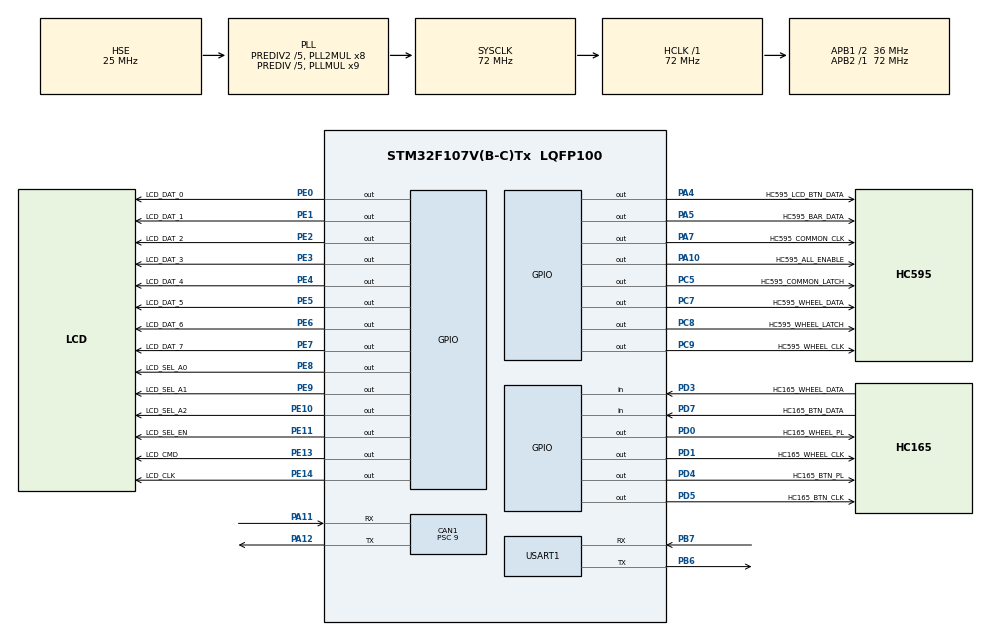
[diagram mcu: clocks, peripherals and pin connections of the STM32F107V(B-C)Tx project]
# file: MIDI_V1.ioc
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Mcu.Family=STM32F1
CAN1.NART=ENABLE
PE8.PinState=GPIO_PIN_RESET
PE4.GPIO_ModeDefaultOutputPP=GPIO_MODE_OUTPUT_PP
PE14.GPIO_Speed=GPIO_SPEED_FREQ_HIGH
RCC.Prediv2=RCC_HSE_PREDIV2_DIV5
PE11.GPIO_Label=LCD_SEL_EN
PE1.PinState=GPIO_PIN_RESET
PE2.GPIO_Speed=GPIO_SPEED_FREQ_HIGH
PE11.PinState=GPIO_PIN_RESET
PD0.GPIO_Label=HC165_WHEEL_PL
PA11.Mode=CAN_Activate
PE9.GPIO_Speed=GPIO_SPEED_FREQ_HIGH
NVIC.TIM1_UP_IRQn=true\:0\:0\:false\:false\:true\:true\:true
PE6.GPIO_Label=LCD_DAT_6
RCC.SYSCLKSource=RCC_SYSCLKSOURCE_PLLCLK
ProjectManager.StackSize=0x800
PC8.PinState=GPIO_PIN_RESET
PE1.GPIO_ModeDefaultOutputPP=GPIO_MODE_OUTPUT_PP
PA12.Signal=CAN1_TX
TIM1.Prescaler=89
PA10.PinState=GPIO_PIN_SET
NVIC.CAN1_TX_IRQn=true\:0\:0\:false\:false\:true\:true\:true
RCC.HCLKFreq_Value=72000000
PD4.Signal=GPIO_Output
RCC.APB2TimFreq_Value=72000000
TIM3.Period=1799
PB6.Signal=USART1_TX
PC7.Signal=GPIO_Output
PB6.Mode=Asynchronous
PD0.Signal=GPIO_Output
PE5.Signal=GPIO_Output
OSC_OUT.Mode=HSE-External-Oscillator
PE14.PinState=GPIO_PIN_RESET
PE1.Signal=GPIO_Output
OSC_OUT.Signal=RCC_OSC_OUT
RCC.AHBFreq_Value=72000000
PE3.PinState=GPIO_PIN_RESET
RCC.HSE_VALUE=25000000
PE2.GPIO_ModeDefaultOutputPP=GPIO_MODE_OUTPUT_PP
PE13.PinState=GPIO_PIN_RESET
RCC.PLLMUL=RCC_PLL_MUL9
PA4.GPIO_Speed=GPIO_SPEED_FREQ_HIGH
PD1.GPIO_Label=HC165_WHEEL_CLK
PE13.Signal=GPIO_Output
PE9.Signal=GPIO_Output
PD1.GPIO_Speed=GPIO_SPEED_FREQ_HIGH
PA14.Mode=Serial_Wire
PE4.GPIO_Speed=GPIO_SPEED_FREQ_HIGH
PE6.GPIO_ModeDefaultOutputPP=GPIO_MODE_OUTPUT_PP
PA10.GPIO_Label=HC595_ALL_ENABLE
PE4.GPIO_Label=LCD_DAT_4
PE5.PinState=GPIO_PIN_RESET
PE10.GPIO_ModeDefaultOutputPP=GPIO_MODE_OUTPUT_PP
PE2.Signal=GPIO_Output
PB7.Signal=USART1_RX
TIM4.Period=999
PE10.GPIO_Speed=GPIO_SPEED_FREQ_HIGH
PE10.Signal=GPIO_Output
PE4.Signal=GPIO_Output
VP_TIM1_VS_ClockSourceINT.Mode=Internal
PE6.PinState=GPIO_PIN_RESET
PD7.GPIO_Label=HC165_BTN_DATA
RCC.Prediv1Source=RCC_PREDIV1_SOURCE_PLL2
CAN1.Prescaler=9
Mcu.Package=LQFP100
PD5.GPIO_Label=HC165_BTN_CLK
PA10.Signal=GPIO_Output
PC8.GPIO_Speed=GPIO_SPEED_FREQ_HIGH
PE0.GPIO_Label=LCD_DAT_0
PA10.GPIO_Speed=GPIO_SPEED_FREQ_HIGH
PE8.GPIO_Speed=GPIO_SPEED_FREQ_HIGH
RCC.APB1TimFreq_Value=72000000
PE8.GPIO_ModeDefaultOutputPP=GPIO_MODE_OUTPUT_PP
PD5.GPIO_Speed=GPIO_SPEED_FREQ_HIGH
PC5.Signal=GPIO_Output
PD3.GPIO_Label=HC165_WHEEL_DATA
TIM1.Period=1
PE7.Signal=GPIO_Output
NVIC.USART1_IRQn=true\:1\:0\:true\:false\:true\:true\:true
PE10.GPIO_Label=LCD_SEL_A2
CAN1.CalculateTimeBit=1000.00
PE9.PinState=GPIO_PIN_RESET
PE6.GPIO_Speed=GPIO_SPEED_FREQ_HIGH
PA4.GPIO_Label=HC595_LCD_BTN_DATA
PE2.GPIO_Label=LCD_DAT_2
VP_TIM3_VS_ClockSourceINT.Mode=Internal
CAN1.CalculateTimeQuantum=250.0
PE14.GPIO_ModeDefaultOutputPP=GPIO_MODE_OUTPUT_PP
PE10.PinState=GPIO_PIN_RESET
RCC.PLLSourceVirtual=RCC_PLLSOURCE_HSE
PE0.GPIO_ModeDefaultOutputPP=GPIO_MODE_OUTPUT_PP
PC9.GPIO_Label=HC595_WHEEL_CLK
PE2.PinState=GPIO_PIN_RESET
PE11.GPIO_Speed=GPIO_SPEED_FREQ_HIGH
PD3.Signal=GPIO_Input
CAN1.CalculateBaudRate=1000000
PC8.Signal=GPIO_Output
PD7.Signal=GPIO_Input
PD1.Signal=GPIO_Output
PE7.PinState=GPIO_PIN_RESET
PE14.GPIO_Label=LCD_CLK
PD5.Signal=GPIO_Output
RCC.APB1CLKDivider=RCC_HCLK_DIV2
PD0.GPIO_Speed=GPIO_SPEED_FREQ_HIGH
PE0.GPIO_Speed=GPIO_SPEED_FREQ_HIGH
PC8.GPIO_Label=HC595_WHEEL_LATCH
PA13.Signal=SYS_JTMS-SWDIO
PE0.PinState=GPIO_PIN_RESET
CAN1.BS1=CAN_BS1_2TQ
ProjectManager.TargetToolchain=STM32CubeIDE
PE8.GPIO_Label=LCD_SEL_A0
OSC_IN.Signal=RCC_OSC_IN
RCC.USBFreq_Value=48000000
PE11.Signal=GPIO_Output
PE9.GPIO_Label=LCD_SEL_A1
CAN1.ABOM=ENABLE
PA5.Signal=GPIO_Output
board=custom
PC7.GPIO_Speed=GPIO_SPEED_FREQ_HIGH
PE1.GPIO_Label=LCD_DAT_1
PA7.GPIO_Speed=GPIO_SPEED_FREQ_HIGH
NVIC.TIM3_IRQn=true\:3\:0\:true\:false\:true\:true\:true
PE7.GPIO_Speed=GPIO_SPEED_FREQ_HIGH
RCC.APB2Freq_Value=72000000
PE14.Signal=GPIO_Output
PE8.Signal=GPIO_Output
PD4.GPIO_Label=HC165_BTN_PL
PD4.GPIO_Speed=GPIO_SPEED_FREQ_HIGH
PE1.GPIO_Speed=GPIO_SPEED_FREQ_HIGH
PE6.Signal=GPIO_Output
PA13.Mode=Serial_Wire
Mcu.Name=STM32F107V(B-C)Tx
PE0.Signal=GPIO_Output
PE7.GPIO_Label=LCD_DAT_7
PC7.GPIO_Label=HC595_WHEEL_DATA
PA4.Signal=GPIO_Output
RCC.SYSCLKFreq_VALUE=72000000
PA7.GPIO_Label=HC595_COMMON_CLK
PE13.GPIO_Label=LCD_CMD
PA12.Mode=CAN_Activate
PA5.GPIO_Label=HC595_BAR_DATA
OSC_IN.Mode=HSE-External-Oscillator
PC5.GPIO_Label=HC595_COMMON_LATCH
PE3.GPIO_Speed=GPIO_SPEED_FREQ_HIGH
PE3.GPIO_ModeDefaultOutputPP=GPIO_MODE_OUTPUT_PP
PE11.GPIO_ModeDefaultOutputPP=GPIO_MODE_OUTPUT_PP
PE13.GPIO_ModeDefaultOutputPP=GPIO_MODE_OUTPUT_PP
RCC.HSEDivPLL=RCC_HSE_PREDIV_DIV5
PE5.GPIO_Label=LCD_DAT_5
USART1.VirtualMode=VM_ASYNC
PA11.Signal=CAN1_RX
PB7.Mode=Asynchronous
PA14.Signal=SYS_JTCK-SWCLK
ProjectManager.HeapSize=0x400
PE5.GPIO_ModeDefaultOutputPP=GPIO_MODE_OUTPUT_PP
VP_TIM4_VS_ClockSourceINT.Mode=Internal
PA5.GPIO_Speed=GPIO_SPEED_FREQ_HIGH
PC9.GPIO_Speed=GPIO_SPEED_FREQ_HIGH
NVIC.PriorityGroup=NVIC_PRIORITYGROUP_4
PC5.GPIO_Speed=GPIO_SPEED_FREQ_HIGH
PE13.GPIO_Speed=GPIO_SPEED_FREQ_HIGH
PE5.GPIO_Speed=GPIO_SPEED_FREQ_HIGH
PE3.Signal=GPIO_Output
PE3.GPIO_Label=LCD_DAT_3
PE4.PinState=GPIO_PIN_RESET
PE7.GPIO_ModeDefaultOutputPP=GPIO_MODE_OUTPUT_PP
PE9.GPIO_ModeDefaultOutputPP=GPIO_MODE_OUTPUT_PP
PC9.Signal=GPIO_Output
NVIC.TIM4_IRQn=true\:2\:0\:true\:false\:true\:true\:true
RCC.APB1Freq_Value=36000000
NVIC.CAN1_RX0_IRQn=true\:0\:0\:false\:false\:true\:true\:true
PA7.Signal=GPIO_Output

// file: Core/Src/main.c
/* USER CODE BEGIN Header */
/**
 ******************************************************************************
 * @file           : main.c
 * @brief          : Main program body
 ******************************************************************************
 * @attention
 *
 * <h2><center>&copy; Copyright (c) 2021 STMicroelectronics.
 * All rights reserved.</center></h2>
 *
 * This software component is licensed by ST under BSD 3-Clause license,
 * the "License"; You may not use this file except in compliance with the
 * License. You may obtain a copy of the License at:
 *                        opensource.org/licenses/BSD-3-Clause
 *
 ******************************************************************************
 */
/* USER CODE END Header */
#include "main.h"

/* USER CODE BEGIN Includes */
#include "HC595_MIDI.h"
#include "HC595_MIDI_Control.h"

#include "HC165_MIDI.h"
#include "HC165_MIDI_wheel.h"

#include "X_Touch_Extender_ADC.h"
#include "X_Touch_Extender_MotorAdc_packet.h"
#include "LCD_MIDI.h"
#include "LCD_MIDI_Control.h"

#include "non_stop_delay_main.h"

#include "key_manager.h"
#include "panel_manager.h"

#include "welcome.h"

#include "app_pid_init_cmd.h"
#include "app_pid_midi_cmd.h"
#include "prtc_data_pid_midi.h"

#include "communication_info.h"

#include "filter_manager.h"

#include "eeprom.h"
#include "eeprom_manager.h"

#ifdef PROTOCOL_DEF
#include "can_com.h"
#include "can_datalink.h"

#include "communication_manager.h"
#endif
/* USER CODE END Includes */

/* USER CODE BEGIN PM */

const uint8_t sine_wave[256] = { 0x80, 0x83, 0x86, 0x89, 0x8C, 0x90, 0x93, 0x96, 0x99, 0x9C, 0x9F, 0xA2, 0xA5, 0xA8, 0xAB, 0xAE, 0xB1, 0xB3, 0xB6, 0xB9, 0xBC, 0xBF, 0xC1, 0xC4,
		0xC7, 0xC9, 0xCC, 0xCE, 0xD1, 0xD3, 0xD5, 0xD8, 0xDA, 0xDC, 0xDE, 0xE0, 0xE2, 0xE4, 0xE6, 0xE8, 0xEA, 0xEB, 0xED, 0xEF, 0xF0, 0xF1, 0xF3, 0xF4, 0xF5, 0xF6, 0xF8, 0xF9,
		0xFA, 0xFA, 0xFB, 0xFC, 0xFD, 0xFD, 0xFE, 0xFE, 0xFE, 0xFF, 0xFF, 0xFF, 0xFF, 0xFF, 0xFF, 0xFF, 0xFE, 0xFE, 0xFE, 0xFD, 0xFD, 0xFC, 0xFB, 0xFA, 0xFA, 0xF9, 0xF8, 0xF6,
		0xF5, 0xF4, 0xF3, 0xF1, 0xF0, 0xEF, 0xED, 0xEB, 0xEA, 0xE8, 0xE6, 0xE4, 0xE2, 0xE0, 0xDE, 0xDC, 0xDA, 0xD8, 0xD5, 0xD3, 0xD1, 0xCE, 0xCC, 0xC9, 0xC7, 0xC4, 0xC1, 0xBF,
		0xBC, 0xB9, 0xB6, 0xB3, 0xB1, 0xAE, 0xAB, 0xA8, 0xA5, 0xA2, 0x9F, 0x9C, 0x99, 0x96, 0x93, 0x90, 0x8C, 0x89, 0x86, 0x83, 0x80, 0x7D, 0x7A, 0x77, 0x74, 0x70, 0x6D, 0x6A,
		0x67, 0x64, 0x61, 0x5E, 0x5B, 0x58, 0x55, 0x52, 0x4F, 0x4D, 0x4A, 0x47, 0x44, 0x41, 0x3F, 0x3C, 0x39, 0x37, 0x34, 0x32, 0x2F, 0x2D, 0x2B, 0x28, 0x26, 0x24, 0x22, 0x20,
		0x1E, 0x1C, 0x1A, 0x18, 0x16, 0x15, 0x13, 0x11, 0x10, 0x0F, 0x0D, 0x0C, 0x0B, 0x0A, 0x08, 0x07, 0x06, 0x06, 0x05, 0x04, 0x03, 0x03, 0x02, 0x02, 0x02, 0x01, 0x01, 0x01,
		0x01, 0x01, 0x01, 0x01, 0x02, 0x02, 0x02, 0x03, 0x03, 0x04, 0x05, 0x06, 0x06, 0x07, 0x08, 0x0A, 0x0B, 0x0C, 0x0D, 0x0F, 0x10, 0x11, 0x13, 0x15, 0x16, 0x18, 0x1A, 0x1C,
		0x1E, 0x20, 0x22, 0x24, 0x26, 0x28, 0x2B, 0x2D, 0x2F, 0x32, 0x34, 0x37, 0x39, 0x3C, 0x3F, 0x41, 0x44, 0x47, 0x4A, 0x4D, 0x4F, 0x52, 0x55, 0x58, 0x5B, 0x5E, 0x61, 0x64,
		0x67, 0x6A, 0x6D, 0x70, 0x74, 0x77, 0x7A, 0x7D };
/* USER CODE END PM */

CAN_HandleTypeDef hcan1;

TIM_HandleTypeDef htim1;
TIM_HandleTypeDef htim3;
TIM_HandleTypeDef htim4;

UART_HandleTypeDef huart1;

/* USER CODE BEGIN PV */
#ifdef PROTOCOL_DEF
MAL_CAN_HandleTypeDef mcan1;
#endif
/* USER CODE END PV */

void SystemClock_Config(void);
static void MX_GPIO_Init(void);
static void MX_TIM3_Init(void);
static void MX_TIM4_Init(void);
static void MX_USART1_UART_Init(void);
static void MX_TIM1_Init(void);
static void MX_CAN1_Init(void);
/* USER CODE BEGIN PFP */

extern HC165_wheel_TypeDef wheel[8];
extern X_Touch_Extender_Packet_HandleTypeDef extenderPacket;

extern Comm_Axle_TypeDef com_axle;
uint8_t my_can_id;
extern uint8_t my_can_sub_id;
/* USER CODE END PFP */

/* USER CODE BEGIN 0 */
void HAL_TIM_PeriodElapsedCallback(TIM_HandleTypeDef *htim) {
	switch ((uint32_t) htim->Instance)
	{
		case (uint32_t) TIM3:
			MAL_HC595_MIDI_TIM_Manager();
			break;
		case (uint32_t) TIM4:
			MAL_HC165_MIDI_TIM_Manager();
			break;
			/*	case (uint32_t)TIM1:
			 MAL_LCD_MIDI_TIM_Manager();
			 break;*/
	}
}
#ifndef PROTOCOL_DEF
void MAL_CAN_FilterConfig(CAN_HandleTypeDef *hcan) {
	CAN_FilterTypeDef sFilterConfig;

	/*##-2- Configure the CAN Filter ###########################################*/
	sFilterConfig.FilterBank = 0;
	sFilterConfig.FilterMode = CAN_FILTERMODE_IDMASK;
	sFilterConfig.FilterScale = CAN_FILTERSCALE_32BIT;
	sFilterConfig.FilterIdHigh = 0x0000;
	sFilterConfig.FilterIdLow = 0x0000;
	sFilterConfig.FilterMaskIdHigh = 0x0000;
	sFilterConfig.FilterMaskIdLow = 0x0000;
	sFilterConfig.FilterFIFOAssignment = CAN_RX_FIFO0;
	sFilterConfig.FilterActivation = ENABLE;
	sFilterConfig.SlaveStartFilterBank = 14;

	if (HAL_CAN_ConfigFilter(hcan, &sFilterConfig) != HAL_OK)
	{
		/* Filter configuration Error */
		Error_Handler();
	}

	/*##-3- Start the CAN peripheral ###########################################*/
	if (HAL_CAN_Start(hcan) != HAL_OK)
	{
		/* Start Error */
		Error_Handler();
	}

	/*##-4- Activate CAN RX notification #######################################*/
	if (HAL_CAN_ActivateNotification(hcan, CAN_IT_RX_FIFO0_MSG_PENDING) != HAL_OK)
	{
		/* Notification Error */
		Error_Handler();
	}
}
#endif

#ifdef PROTOCOL_DEF
void MAL_CAN1_Init(void)
{
	MAL_CAN_FilterConfig(&hcan1);
	MAL_CAN_HandleMatching(&mcan1,&hcan1);
}
#endif

/* USER CODE END 0 */
uint32_t t_time1;
uint32_t t_time2;
uint32_t t_tot;

int main(void) {

	/* MCU Configuration--------------------------------------------------------*/

	/* Reset of all peripherals, Initializes the Flash interface and the Systick. */
	HAL_Init();

	/* Configure the system clock */
	SystemClock_Config();

	/* Initialize all configured peripherals */
	MX_GPIO_Init();
	MX_TIM3_Init();
	MX_TIM4_Init();
	MX_USART1_UART_Init();
	MX_TIM1_Init();
	MX_CAN1_Init();
	/* USER CODE BEGIN 2 */

#ifndef PROTOCOL_DEF
	can_init_data_save(&hcan1);
	MAL_CAN_FilterConfig(&hcan1);
#endif

#ifdef PROTOCOL_DEF
	MAL_CAN1_Init();
#endif
	Key_Init();

	MAL_UART_Init();
	MAL_X_TouchExtender_Packet_Init();
	MAL_X_touch_test();

	MAL_HC595_MIDI_Init();
	MAL_LED_Control_Init();
	MAL_HC165_MIDI_Init();

	MAL_LCD_Init();

	Panel_Init();

	filter_init();

	com_axle.list.cnt = 1;

	welcome();

	eeprom_init();
#ifdef PROTOCOL_DEF
	CAN_App_BootAlm_Event_TxReq();
	CAN_App_MIDI_AxleInfo_TxReq();
#endif

	for (int k = 0; k < 8; k++)
	{
		MAL_LED_BackLight_Control(k, LED_WHITE);
	}

#ifndef PROTOCOL_DEF
	//app_tx_midi_sub_pid_exist_ctl(0, 1, my_can_id, 0, 1, 0);
	//app_tx_midi_sub_pid_exist_ctl(0, 1, my_can_id, 0, my_can_sub_id, 0);

	my_can_id = 1;
	set_my_can_id(1);
	add_my_can_sub_id(1, 1);
	app_tx_midi_sub_pid_exist_ctl(0, 1, 1, 0, 1, 0);
	//app_tx_midi_sub_pid_exist_ctl(0, 1, my_can_id, 0, 0);
#endif
	//LCD_SetText_DEC(0,5);

	//LCD_Pixel_wirte_logo(0);
	//LCD_Pixel_wirte_logo(7);

	/*
	 LCD_Pixel_wirte_logo(0);
	 LCD_Pixel_wirte_logo(1);
	 LCD_Pixel_wirte_logo(2);
	 LCD_Pixel_wirte_logo(3);
	 LCD_Pixel_wirte_logo(4);
	 LCD_Pixel_wirte_logo(5);
	 LCD_Pixel_wirte_logo(6);
	 LCD_Pixel_wirte_logo(7);
	 */

	/*	LCD_pixel_write_sizeA_p(1, 'A', 1);
	 LCD_pixel_write_sizeA_p(1, 'X', 2);
	 LCD_pixel_write_sizeA_p(1, 'L', 3);
	 LCD_pixel_write_sizeA_p(1, 'E', 4);
	 LCD_pixel_write_sizeA_p(1, ':', 5);
	 LCD_pixel_write_sizeA_p(1, '7', 6);*/

	/*  LCD_pixel_write_sizeA_p(1, 'G', 1);
	 LCD_pixel_write_sizeA_p(1, 'E', 2);
	 LCD_pixel_write_sizeA_p(1, 'N', 3);
	 LCD_pixel_write_sizeA_p(1, 'T', 4);
	 LCD_pixel_write_sizeA_p(1, 'L', 5);
	 LCD_pixel_write_sizeA_p(1, 'E', 6);

	 LCD_pixel_write_sizeA_p(2, 'M', 1);
	 LCD_pixel_write_sizeA_p(2, 'O', 2);
	 LCD_pixel_write_sizeA_p(2, 'N', 3);
	 LCD_pixel_write_sizeA_p(2, 'S', 4);
	 LCD_pixel_write_sizeA_p(2, 'T', 5);
	 LCD_pixel_write_sizeA_p(2, 'E', 6);
	 LCD_pixel_write_sizeA_p(2, 'R', 6);*/

	/*   LCD_pixel_write_sizeA_p(5, 'K', 1);
	 LCD_pixel_write_sizeA_p(5, 'i', 2);
	 LCD_pixel_write_sizeA_p(5, 'm', 3);

	 LCD_pixel_write_sizeA_p(5, 'H', 10);
	 LCD_pixel_write_sizeA_p(5, 'y', 11);
	 LCD_pixel_write_sizeA_p(5, 'u', 12);
	 LCD_pixel_write_sizeA_p(5, 'n', 13);
	 LCD_pixel_write_sizeA_p(5, 'j', 14);
	 LCD_pixel_write_sizeA_p(5, 'u', 15);*/

	//LCD_pixel_write_sizeA_p(5, 0x50, 17);
	//  MAL_LCD_InitSeq();
	/*
	 uint8_t test_bit = 0x01;
	 uint8_t test_bit2 = 0x01;

	 for(int sk = 0; sk < 8; sk++)
	 {
	 MAL_LCD_SetData(sk,0x00);
	 }

	 uint8_t toggle = 0;

	 uint8_t testData=0x30;*/

	// LCD_control2(6,&LCDtext);
#if 0
	uint8_t toggle = 0;

	uint32_t test_cnt = 0;

	uint32_t val = 0;

	uint8_t sine_cnt = 0;

	uint8_t sine_shift = 0;

	uint32_t t_motor = 0;

	uint32_t t_lcd = 0;

	uint32_t t_wheel = 0;
#endif
/*	uint32_t t_testss;

	uint32_t pHeader;
	uint8_t aData[8] = {0,};*/

//	uint32_t t_testss1;
	/*

	 uint32_t pTxMailbox;*/

	/* USER CODE END 2 */

	/* Infinite loop */
	while (1)
	{

		/* USER CODE BEGIN 3 */
		//=============================================
		MAL_LED_Refresh();
		MAL_HC595_MIDI_SendTrigger();
		MAL_HC165_MIDI_ReadTrigger();
		MAL_X_TouchExtender_ADC_Process();
		//=============================================
		t_time1 = HAL_GetTick();
		filter_manager();
		t_time2 = HAL_GetTick();
		t_tot = t_time2 - t_time1;

		Key_Manager();
		Panel_Manager();

#ifndef PROTOCOL_DEF
		proc_can_rx();
		proc_can_tx();
#endif
#ifdef PROTOCOL_DEF
		InfoManager();
		MAL_CAN_Process();

/*		if (MAL_NonStopDelay(&t_testss, 100) == 1)
		{
			MAL_CAN_SendAddQueue_ExtData(&mcan1,pHeader, aData, 8);
			aData[0]++;
		}*/
#endif
//		if (MAL_NonStopDelay(&t_testss, 2000) == 1)
//		{
//			Slide_control(1, 4094);
//			Slide_control(2, 4094);
//			Slide_control(3, 4094);
//			Slide_control(4, 4094);
//			Slide_control(5, 4094);
//		}
//
//		if (MAL_NonStopDelay(&t_testss1, 7000) == 1)
//		{
//			Slide_control(1, 0);
//			Slide_control(2, 0);
//			Slide_control(3, 0);
//			Slide_control(4, 0);
//			Slide_control(5, 0);
//		}
#if 0

		/*	  LCD_SetText_DEC(0,val);
		 val++;

		 if(val > 4095)
		 val = 0;

		 HAL_Delay(100);*/

		if (MAL_NonStopDelay(&t_lcd, 30) == 1) {

			MAL_X_TouchExtender_ADC_Process();
			MAL_X_TouchExtender_ADC_Process();
			MAL_X_TouchExtender_ADC_Process();
			MAL_X_TouchExtender_ADC_Process();
			MAL_X_TouchExtender_ADC_Process();
			MAL_X_TouchExtender_ADC_Process();
			MAL_X_TouchExtender_ADC_Process();
			MAL_X_TouchExtender_ADC_Process();
			MAL_X_TouchExtender_ADC_Process();

			//LCD_SetText_DEC(0,extenderPacket.adc[0]);
			/*			LCD_SetText_DEC(1, extenderPacket.adc[1]);
			 LCD_SetText_DEC(2, extenderPacket.adc[2]);
			 LCD_SetText_DEC(3, extenderPacket.adc[3]);
			 LCD_SetText_DEC(4, extenderPacket.adc[4]);
			 LCD_SetText_DEC(5, extenderPacket.adc[5]);
			 LCD_SetText_DEC(6, extenderPacket.adc[6]);*/
			//LCD_SetText_DEC(7,extenderPacket.adc[7]);
		}

		if (MAL_NonStopDelay(&t_motor, 16) == 1) {

			sine_cnt++;

			sine_shift = 0;

			if (extenderPacket.touch[0] == 0x00) {
				Slide_control(0, 16 * sine_wave[sine_cnt]);
				//LCD_SetText_DEC(0, 16 * sine_wave[sine_cnt]);
			} else {
				//LCD_SetText_DEC(0, extenderPacket.adc[0]);
			}

			sine_shift = 20 + sine_cnt;
			if (extenderPacket.touch[1] == 0x00) {
				Slide_control(1, 16 * sine_wave[sine_shift]);
				LCD_SetText_DEC(1, 16 * sine_wave[sine_shift]);
			} else {
				LCD_SetText_DEC(1, extenderPacket.adc[1]);
			}

			sine_shift += 20;
			if (extenderPacket.touch[2] == 0x00) {
				Slide_control(2, 16 * sine_wave[sine_shift]);
				LCD_SetText_DEC(2, 16 * sine_wave[sine_shift]);
			} else {
				LCD_SetText_DEC(2, extenderPacket.adc[2]);
			}

			sine_shift += 20;
			if (extenderPacket.touch[3] == 0x00) {
				Slide_control(3, 16 * sine_wave[sine_shift]);
				LCD_SetText_DEC(3, 16 * sine_wave[sine_shift]);
			} else {
				LCD_SetText_DEC(3, extenderPacket.adc[3]);
			}

			sine_shift += 20;
			if (extenderPacket.touch[4] == 0x00) {
				Slide_control(4, 16 * sine_wave[sine_shift]);
				LCD_SetText_DEC(4, 16 * sine_wave[sine_shift]);
			} else {
				LCD_SetText_DEC(4, extenderPacket.adc[4]);
			}

			sine_shift += 20;
			if (extenderPacket.touch[5] == 0x00) {
				Slide_control(5, 16 * sine_wave[sine_shift]);
				LCD_SetText_DEC(5, 16 * sine_wave[sine_shift]);
			} else {
				LCD_SetText_DEC(5, extenderPacket.adc[5]);
			}

			sine_shift += 20;
			if (extenderPacket.touch[6] == 0x00) {
				Slide_control(6, 16 * sine_wave[sine_shift]);
				LCD_SetText_DEC(6, 16 * sine_wave[sine_shift]);
			} else {
				LCD_SetText_DEC(6, extenderPacket.adc[6]);
			}

			sine_shift += 20;
			if (extenderPacket.touch[7] == 0x00) {
				//Slide_control(7, 16 * sine_wave[sine_shift]);
				Slide_control(7, extenderPacket.adc[6]);
				//LCD_SetText_DEC(7, 16 * sine_wave[sine_shift]);
			} else {
				//LCD_SetText_DEC(7, extenderPacket.adc[7]);
			}

		}

		if (MAL_NonStopDelay(&t_val, 300) == 1) {

			MAL_X_TouchExtender_ADC_Process();

			/* sine_cnt++;

			 sine_shift = 0;*/

			test_cnt++;
			if (test_cnt > 8)
				test_cnt = 0;

			//Slide_control(0, 16*sine_wave[sine_cnt]);
			MAL_LED_BackLight_Control(1, LED_BLUE);
			MAL_LED_BarGauge_Control(1, test_cnt);
			//MAL_LED_Wheel_Control(1, wheel[1].status.wheelCnt);
			MAL_LED_Button_Control(0, test_cnt / 2, 0);
			MAL_LED_Button_Control(4, test_cnt / 2, 0);

			test_cnt++;
			if (test_cnt > 8)
				test_cnt = 0;

			//sine_shift = 20 + sine_cnt;
			//Slide_control(1, 16 * sine_wave[sine_shift]);
			MAL_LED_BackLight_Control(2, LED_CYAN);
			MAL_LED_BarGauge_Control(2, test_cnt);
			//MAL_LED_Wheel_Control(2, wheel[2].status.wheelCnt);
			MAL_LED_Button_Control(1, test_cnt / 2, 0);
			MAL_LED_Button_Control(5, test_cnt / 2, 0);
			test_cnt++;
			if (test_cnt > 8)
				test_cnt = 0;

			//sine_shift += 20;
			//Slide_control(2, 16 * sine_wave[sine_shift]);
			MAL_LED_BackLight_Control(3, LED_YELLOW);
			MAL_LED_BarGauge_Control(3, test_cnt);
			//MAL_LED_Wheel_Control(3, wheel[3].status.wheelCnt);
			MAL_LED_Button_Control(2, test_cnt / 2, 0);
			MAL_LED_Button_Control(6, test_cnt / 2, 0);
			test_cnt++;
			if (test_cnt > 8)
				test_cnt = 0;

			//sine_shift += 20;
			//Slide_control(3, 16 * sine_wave[sine_shift]);
			MAL_LED_BackLight_Control(4, LED_MAGENTA);
			MAL_LED_BarGauge_Control(4, test_cnt);
			//MAL_LED_Wheel_Control(4, wheel[4].status.wheelCnt);
			MAL_LED_Button_Control(3, test_cnt / 2, 0);
			MAL_LED_Button_Control(7, test_cnt / 2, 0);
			test_cnt++;
			if (test_cnt > 8)
				test_cnt = 0;

			//sine_shift += 20;
			//Slide_control(4, 16 * sine_wave[sine_shift]);
			MAL_LED_BackLight_Control(5, LED_GREEN);
			MAL_LED_BarGauge_Control(5, test_cnt);
			//MAL_LED_Wheel_Control(5, wheel[5].status.wheelCnt);
			MAL_LED_Button_Control(0, test_cnt / 2, 1);
			MAL_LED_Button_Control(4, test_cnt / 2, 1);
			test_cnt++;
			if (test_cnt > 8)
				test_cnt = 0;

			//sine_shift += 20;
			//Slide_control(5, 16 * sine_wave[sine_shift]);
			MAL_LED_BackLight_Control(6, LED_WHITE);
			MAL_LED_BarGauge_Control(6, test_cnt);
			//MAL_LED_Wheel_Control(6, wheel[6].status.wheelCnt);
			MAL_LED_Button_Control(1, test_cnt / 2, 1);
			MAL_LED_Button_Control(5, test_cnt / 2, 1);
			test_cnt++;
			if (test_cnt > 8)
				test_cnt = 0;

			//sine_shift += 20;
			//Slide_control(6, 16 * sine_wave[sine_shift]);
			MAL_LED_BackLight_Control(7, test_cnt+1);
			MAL_LED_BarGauge_Control(7, test_cnt);
			//MAL_LED_Wheel_Control(7, wheel[7].status.wheelCnt);
			MAL_LED_Button_Control(2, test_cnt / 2, 1);
			MAL_LED_Button_Control(6, test_cnt / 2, 1);
			test_cnt++;
			if (test_cnt > 8)
				test_cnt = 0;

			//sine_shift += 20;
			//Slide_control(7, 16 * sine_wave[sine_shift]);
			MAL_LED_BackLight_Control(0, test_cnt+1);
			MAL_LED_BarGauge_Control(0, test_cnt);
			//MAL_LED_Wheel_Control(0, wheel[0].status.wheelCnt);
			MAL_LED_Button_Control(3, test_cnt / 2, 1);
			MAL_LED_Button_Control(7, test_cnt / 2, 1);
			/*	  test_cnt++;
			 if(test_cnt > 8)
			 test_cnt = 0;*/

			MAL_LED_Refresh();

		}

		if (MAL_NonStopDelay(&t_wheel, 5) == 1) {
			MAL_LED_Wheel_Control(0, wheel[0].status.wheelCnt);
			MAL_LED_Wheel_Control(1, wheel[1].status.wheelCnt);
			MAL_LED_Wheel_Control(2, wheel[2].status.wheelCnt);
			MAL_LED_Wheel_Control(3, wheel[3].status.wheelCnt);
			MAL_LED_Wheel_Control(4, wheel[4].status.wheelCnt);
			MAL_LED_Wheel_Control(5, wheel[5].status.wheelCnt);
			MAL_LED_Wheel_Control(6, wheel[6].status.wheelCnt);
			MAL_LED_Wheel_Control(7, wheel[7].status.wheelCnt);
			MAL_LED_Refresh();

		}

		MAL_HC595_MIDI_SendTrigger();
		MAL_HC165_MIDI_ReadTrigger();
		MAL_X_TouchExtender_ADC_Process();
		/*
		 if(toggle)
		 {
		 toggle = 0;
		 LCD_pixel_write_sizeA_p(2, 'M', 1);
		 LCD_pixel_write_sizeA_p(2, 'O', 2);
		 LCD_pixel_write_sizeA_p(2, 'N', 3);
		 LCD_pixel_write_sizeA_p(2, 'S', 4);
		 LCD_pixel_write_sizeA_p(2, 'T', 5);
		 LCD_pixel_write_sizeA_p(2, 'E', 6);
		 LCD_pixel_write_sizeA_p(2, 'R', 6);

		 LCD_pixel_write_sizeA_p(3, ' ', 1);
		 LCD_pixel_write_sizeA_p(3, ' ', 2);
		 LCD_pixel_write_sizeA_p(3, ' ', 3);
		 LCD_pixel_write_sizeA_p(3, ' ', 4);
		 LCD_pixel_write_sizeA_p(3, ' ', 5);
		 LCD_pixel_write_sizeA_p(3, ' ', 6);
		 LCD_pixel_write_sizeA_p(3, ' ', 6);
		 }
		 else
		 {
		 toggle = 1;
		 LCD_pixel_write_sizeA_p(2, ' ', 1);
		 LCD_pixel_write_sizeA_p(2, ' ', 2);
		 LCD_pixel_write_sizeA_p(2, ' ', 3);
		 LCD_pixel_write_sizeA_p(2, ' ', 4);
		 LCD_pixel_write_sizeA_p(2, ' ', 5);
		 LCD_pixel_write_sizeA_p(2, ' ', 6);
		 LCD_pixel_write_sizeA_p(2, ' ', 6);

		 LCD_pixel_write_sizeA_p(3, 'M', 1);
		 LCD_pixel_write_sizeA_p(3, 'O', 2);
		 LCD_pixel_write_sizeA_p(3, 'N', 3);
		 LCD_pixel_write_sizeA_p(3, 'S', 4);
		 LCD_pixel_write_sizeA_p(3, 'T', 5);
		 LCD_pixel_write_sizeA_p(3, 'E', 6);
		 LCD_pixel_write_sizeA_p(3, 'R', 6);
		 }

		 MAL_LED_BackLight_Control(1, LED_WHITE);
		 MAL_LED_BackLight_Control(2, LED_WHITE);
		 MAL_LED_BackLight_Control(3, LED_WHITE);
		 MAL_LED_BackLight_Control(4, LED_WHITE);
		 MAL_LED_BackLight_Control(5, LED_WHITE);
		 MAL_LED_BackLight_Control(6, LED_WHITE);
		 MAL_LED_BackLight_Control(7, LED_WHITE);
		 MAL_LED_BackLight_Control(8, LED_WHITE);

		 MAL_LED_Refresh();

		 MAL_HC595_MIDI_SendTrigger();

		 HAL_Delay(100);

		 MAL_LED_Wheel_Control(1, test_cnt);

		 Slide_control(0, test_cnt*100);
		 MAL_LED_BackLight_Control(1, test_cnt);
		 MAL_LED_BarGauge_Control(1, test_cnt);
		 MAL_LED_Wheel_Control(1, test_cnt);
		 MAL_LED_Button_Control(1, test_cnt/2 , 0);
		 MAL_LED_Button_Control(5, test_cnt/2 , 0);

		 test_cnt++;
		 if(test_cnt > 8)
		 test_cnt = 0;

		 Slide_control(1, test_cnt*100);
		 MAL_LED_BackLight_Control(2, test_cnt);
		 MAL_LED_BarGauge_Control(2, test_cnt);
		 MAL_LED_Wheel_Control(2, test_cnt);
		 MAL_LED_Button_Control(2, test_cnt/2 , 0);
		 MAL_LED_Button_Control(6, test_cnt/2 , 0);
		 test_cnt++;
		 if(test_cnt > 8)
		 test_cnt = 0;

		 Slide_control(2, test_cnt*100);
		 MAL_LED_BackLight_Control(3, test_cnt);
		 MAL_LED_BarGauge_Control(3, test_cnt);
		 MAL_LED_Wheel_Control(3, test_cnt);
		 MAL_LED_Button_Control(3, test_cnt/2 , 0);
		 MAL_LED_Button_Control(7, test_cnt/2 , 0);
		 test_cnt++;
		 if(test_cnt > 8)
		 test_cnt = 0;

		 Slide_control(3, test_cnt*100);
		 MAL_LED_BackLight_Control(4, test_cnt);
		 MAL_LED_BarGauge_Control(4, test_cnt);
		 MAL_LED_Wheel_Control(4, test_cnt);
		 MAL_LED_Button_Control(4, test_cnt/2 , 0);
		 MAL_LED_Button_Control(8, test_cnt/2 , 0);
		 test_cnt++;
		 if(test_cnt > 8)
		 test_cnt = 0;

		 Slide_control(4, test_cnt*100);
		 MAL_LED_BackLight_Control(5, test_cnt);
		 MAL_LED_BarGauge_Control(5, test_cnt);
		 MAL_LED_Wheel_Control(5, test_cnt);
		 MAL_LED_Button_Control(1, test_cnt/2 , 1);
		 MAL_LED_Button_Control(5, test_cnt/2 , 1);
		 test_cnt++;
		 if(test_cnt > 8)
		 test_cnt = 0;

		 Slide_control(5, test_cnt*100);
		 MAL_LED_BackLight_Control(6, test_cnt);
		 MAL_LED_BarGauge_Control(6, test_cnt);
		 MAL_LED_Wheel_Control(6, test_cnt);
		 MAL_LED_Button_Control(2, test_cnt/2 , 1);
		 MAL_LED_Button_Control(6, test_cnt/2 , 1);
		 test_cnt++;
		 if(test_cnt > 8)
		 test_cnt = 0;

		 Slide_control(6, test_cnt*100);
		 MAL_LED_BackLight_Control(7, test_cnt);
		 MAL_LED_BarGauge_Control(7, test_cnt);
		 MAL_LED_Wheel_Control(7, test_cnt);
		 MAL_LED_Button_Control(3, test_cnt/2 , 1);
		 MAL_LED_Button_Control(7, test_cnt/2 , 1);
		 test_cnt++;
		 if(test_cnt > 8)
		 test_cnt = 0;

		 Slide_control(7, test_cnt*100);
		 MAL_LED_BackLight_Control(8, test_cnt);
		 MAL_LED_BarGauge_Control(8, test_cnt);
		 MAL_LED_Wheel_Control(8, test_cnt);
		 MAL_LED_Button_Control(4, test_cnt/2 , 1);
		 MAL_LED_Button_Control(8, test_cnt/2 , 1);
		 test_cnt++;
		 if(test_cnt > 8)
		 test_cnt = 0;

		 MAL_LED_Refresh();
		 MAL_HC165_MIDI_ReadTrigger();
		 MAL_HC595_MIDI_SendTrigger();
		 HAL_Delay(40);*/
#endif

	}
	/* USER CODE END 3 */
}

void SystemClock_Config(void) {
	RCC_OscInitTypeDef RCC_OscInitStruct = { 0 };
	RCC_ClkInitTypeDef RCC_ClkInitStruct = { 0 };

	/** Initializes the RCC Oscillators according to the specified parameters
	 * in the RCC_OscInitTypeDef structure.
	 */
	RCC_OscInitStruct.OscillatorType = RCC_OSCILLATORTYPE_HSE;
	RCC_OscInitStruct.HSEState = RCC_HSE_ON;
	RCC_OscInitStruct.HSEPredivValue = RCC_HSE_PREDIV_DIV5;
	RCC_OscInitStruct.HSIState = RCC_HSI_ON;
	RCC_OscInitStruct.Prediv1Source = RCC_PREDIV1_SOURCE_PLL2;
	RCC_OscInitStruct.PLL.PLLState = RCC_PLL_ON;
	RCC_OscInitStruct.PLL.PLLSource = RCC_PLLSOURCE_HSE;
	RCC_OscInitStruct.PLL.PLLMUL = RCC_PLL_MUL9;
	RCC_OscInitStruct.PLL2.PLL2State = RCC_PLL2_ON;
	RCC_OscInitStruct.PLL2.PLL2MUL = RCC_PLL2_MUL8;
	RCC_OscInitStruct.PLL2.HSEPrediv2Value = RCC_HSE_PREDIV2_DIV5;
	if (HAL_RCC_OscConfig(&RCC_OscInitStruct) != HAL_OK)
	{
		Error_Handler();
	}
	/** Initializes the CPU, AHB and APB buses clocks
	 */
	RCC_ClkInitStruct.ClockType = RCC_CLOCKTYPE_HCLK | RCC_CLOCKTYPE_SYSCLK | RCC_CLOCKTYPE_PCLK1 | RCC_CLOCKTYPE_PCLK2;
	RCC_ClkInitStruct.SYSCLKSource = RCC_SYSCLKSOURCE_PLLCLK;
	RCC_ClkInitStruct.AHBCLKDivider = RCC_SYSCLK_DIV1;
	RCC_ClkInitStruct.APB1CLKDivider = RCC_HCLK_DIV2;
	RCC_ClkInitStruct.APB2CLKDivider = RCC_HCLK_DIV1;

	if (HAL_RCC_ClockConfig(&RCC_ClkInitStruct, FLASH_LATENCY_2) != HAL_OK)
	{
		Error_Handler();
	}
	/** Configure the Systick interrupt time
	 */
	__HAL_RCC_PLLI2S_ENABLE();
}

static void MX_CAN1_Init(void) {

	hcan1.Instance = CAN1;
	hcan1.Init.Prescaler = 9;
	hcan1.Init.Mode = CAN_MODE_NORMAL;
	hcan1.Init.SyncJumpWidth = CAN_SJW_1TQ;
	hcan1.Init.TimeSeg1 = CAN_BS1_2TQ;
	hcan1.Init.TimeSeg2 = CAN_BS2_1TQ;
	hcan1.Init.TimeTriggeredMode = DISABLE;
	hcan1.Init.AutoBusOff = ENABLE;
	hcan1.Init.AutoWakeUp = DISABLE;
	hcan1.Init.AutoRetransmission = DISABLE;
	hcan1.Init.ReceiveFifoLocked = DISABLE;
	hcan1.Init.TransmitFifoPriority = DISABLE;
	if (HAL_CAN_Init(&hcan1) != HAL_OK)
	{
		Error_Handler();
	}

}

static void MX_TIM1_Init(void) {

	TIM_ClockConfigTypeDef sClockSourceConfig = { 0 };
	TIM_MasterConfigTypeDef sMasterConfig = { 0 };

	htim1.Instance = TIM1;
	htim1.Init.Prescaler = 89;
	htim1.Init.CounterMode = TIM_COUNTERMODE_UP;
	htim1.Init.Period = 1;
	htim1.Init.ClockDivision = TIM_CLOCKDIVISION_DIV1;
	htim1.Init.RepetitionCounter = 0;
	htim1.Init.AutoReloadPreload = TIM_AUTORELOAD_PRELOAD_DISABLE;
	if (HAL_TIM_Base_Init(&htim1) != HAL_OK)
	{
		Error_Handler();
	}
	sClockSourceConfig.ClockSource = TIM_CLOCKSOURCE_INTERNAL;
	if (HAL_TIM_ConfigClockSource(&htim1, &sClockSourceConfig) != HAL_OK)
	{
		Error_Handler();
	}
	sMasterConfig.MasterOutputTrigger = TIM_TRGO_RESET;
	sMasterConfig.MasterSlaveMode = TIM_MASTERSLAVEMODE_DISABLE;
	if (HAL_TIMEx_MasterConfigSynchronization(&htim1, &sMasterConfig) != HAL_OK)
	{
		Error_Handler();
	}

}

static void MX_TIM3_Init(void) {

	TIM_ClockConfigTypeDef sClockSourceConfig = { 0 };
	TIM_MasterConfigTypeDef sMasterConfig = { 0 };

	htim3.Instance = TIM3;
	htim3.Init.Prescaler = 0;
	htim3.Init.CounterMode = TIM_COUNTERMODE_UP;
	htim3.Init.Period = 1799;
	htim3.Init.ClockDivision = TIM_CLOCKDIVISION_DIV1;
	htim3.Init.AutoReloadPreload = TIM_AUTORELOAD_PRELOAD_DISABLE;
	if (HAL_TIM_Base_Init(&htim3) != HAL_OK)
	{
		Error_Handler();
	}
	sClockSourceConfig.ClockSource = TIM_CLOCKSOURCE_INTERNAL;
	if (HAL_TIM_ConfigClockSource(&htim3, &sClockSourceConfig) != HAL_OK)
	{
		Error_Handler();
	}
	sMasterConfig.MasterOutputTrigger = TIM_TRGO_RESET;
	sMasterConfig.MasterSlaveMode = TIM_MASTERSLAVEMODE_DISABLE;
	if (HAL_TIMEx_MasterConfigSynchronization(&htim3, &sMasterConfig) != HAL_OK)
	{
		Error_Handler();
	}
	/* USER CODE BEGIN TIM3_Init 2 */
	//HAL_TIM_PWM_Start_IT(&htim3, TIM_CHANNEL_1);
	//HAL_TIM_Base_Start_IT(&htim3);
	/* USER CODE END TIM3_Init 2 */

}

static void MX_TIM4_Init(void) {

	TIM_ClockConfigTypeDef sClockSourceConfig = { 0 };
	TIM_MasterConfigTypeDef sMasterConfig = { 0 };

	htim4.Instance = TIM4;
	htim4.Init.Prescaler = 0;
	htim4.Init.CounterMode = TIM_COUNTERMODE_UP;
	htim4.Init.Period = 999;
	htim4.Init.ClockDivision = TIM_CLOCKDIVISION_DIV1;
	htim4.Init.AutoReloadPreload = TIM_AUTORELOAD_PRELOAD_DISABLE;
	if (HAL_TIM_Base_Init(&htim4) != HAL_OK)
	{
		Error_Handler();
	}
	sClockSourceConfig.ClockSource = TIM_CLOCKSOURCE_INTERNAL;
	if (HAL_TIM_ConfigClockSource(&htim4, &sClockSourceConfig) != HAL_OK)
	{
		Error_Handler();
	}
	sMasterConfig.MasterOutputTrigger = TIM_TRGO_RESET;
	sMasterConfig.MasterSlaveMode = TIM_MASTERSLAVEMODE_DISABLE;
	if (HAL_TIMEx_MasterConfigSynchronization(&htim4, &sMasterConfig) != HAL_OK)
	{
		Error_Handler();
	}

}

static void MX_USART1_UART_Init(void) {

	huart1.Instance = USART1;
	huart1.Init.BaudRate = 115200;
	huart1.Init.WordLength = UART_WORDLENGTH_8B;
	huart1.Init.StopBits = UART_STOPBITS_1;
	huart1.Init.Parity = UART_PARITY_NONE;
	huart1.Init.Mode = UART_MODE_TX_RX;
	huart1.Init.HwFlowCtl = UART_HWCONTROL_NONE;
	huart1.Init.OverSampling = UART_OVERSAMPLING_16;
	if (HAL_UART_Init(&huart1) != HAL_OK)
	{
		Error_Handler();
	}

}

static void MX_GPIO_Init(void) {
	GPIO_InitTypeDef GPIO_InitStruct = { 0 };

	/* GPIO Ports Clock Enable */
	__HAL_RCC_GPIOE_CLK_ENABLE();
	__HAL_RCC_GPIOA_CLK_ENABLE();
	__HAL_RCC_GPIOC_CLK_ENABLE();
	__HAL_RCC_GPIOD_CLK_ENABLE();
	__HAL_RCC_GPIOB_CLK_ENABLE();

	/*Configure GPIO pin Output Level */
	HAL_GPIO_WritePin(GPIOE,
			LCD_DAT_2_Pin | LCD_DAT_3_Pin | LCD_DAT_4_Pin | LCD_DAT_5_Pin | LCD_DAT_6_Pin | LCD_DAT_7_Pin | LCD_SEL_A0_Pin | LCD_SEL_A1_Pin | LCD_SEL_A2_Pin | LCD_SEL_EN_Pin
					| LCD_CMD_Pin | LCD_CLK_Pin | LCD_DAT_0_Pin | LCD_DAT_1_Pin, GPIO_PIN_RESET);

	/*Configure GPIO pin Output Level */
	HAL_GPIO_WritePin(GPIOA, HC595_LCD_BTN_DATA_Pin | HC595_BAR_DATA_Pin | HC595_COMMON_CLK_Pin, GPIO_PIN_RESET);

	/*Configure GPIO pin Output Level */
	HAL_GPIO_WritePin(GPIOC, HC595_COMMON_LATCH_Pin | HC595_WHEEL_DATA_Pin | HC595_WHEEL_LATCH_Pin | HC595_WHEEL_CLK_Pin, GPIO_PIN_RESET);

	/*Configure GPIO pin Output Level */
	HAL_GPIO_WritePin(HC595_ALL_ENABLE_GPIO_Port, HC595_ALL_ENABLE_Pin, GPIO_PIN_SET);

	/*Configure GPIO pin Output Level */
	HAL_GPIO_WritePin(GPIOD, HC165_WHEEL_PL_Pin | HC165_WHEEL_CLK_Pin | HC165_BTN_PL_Pin | HC165_BTN_CLK_Pin, GPIO_PIN_RESET);

	/*Configure GPIO pins : LCD_DAT_2_Pin LCD_DAT_3_Pin LCD_DAT_4_Pin LCD_DAT_5_Pin
	 LCD_DAT_6_Pin LCD_DAT_7_Pin LCD_SEL_A0_Pin LCD_SEL_A1_Pin
	 LCD_SEL_A2_Pin LCD_SEL_EN_Pin LCD_CMD_Pin LCD_CLK_Pin
	 LCD_DAT_0_Pin LCD_DAT_1_Pin */
	GPIO_InitStruct.Pin = LCD_DAT_2_Pin | LCD_DAT_3_Pin | LCD_DAT_4_Pin | LCD_DAT_5_Pin | LCD_DAT_6_Pin | LCD_DAT_7_Pin | LCD_SEL_A0_Pin | LCD_SEL_A1_Pin | LCD_SEL_A2_Pin
			| LCD_SEL_EN_Pin | LCD_CMD_Pin | LCD_CLK_Pin | LCD_DAT_0_Pin | LCD_DAT_1_Pin;
	GPIO_InitStruct.Mode = GPIO_MODE_OUTPUT_PP;
	GPIO_InitStruct.Pull = GPIO_NOPULL;
	GPIO_InitStruct.Speed = GPIO_SPEED_FREQ_HIGH;
	HAL_GPIO_Init(GPIOE, &GPIO_InitStruct);

	/*Configure GPIO pins : HC595_LCD_BTN_DATA_Pin HC595_BAR_DATA_Pin HC595_COMMON_CLK_Pin HC595_ALL_ENABLE_Pin */
	GPIO_InitStruct.Pin = HC595_LCD_BTN_DATA_Pin | HC595_BAR_DATA_Pin | HC595_COMMON_CLK_Pin | HC595_ALL_ENABLE_Pin;
	GPIO_InitStruct.Mode = GPIO_MODE_OUTPUT_PP;
	GPIO_InitStruct.Pull = GPIO_NOPULL;
	GPIO_InitStruct.Speed = GPIO_SPEED_FREQ_HIGH;
	HAL_GPIO_Init(GPIOA, &GPIO_InitStruct);

	/*Configure GPIO pins : HC595_COMMON_LATCH_Pin HC595_WHEEL_DATA_Pin HC595_WHEEL_LATCH_Pin HC595_WHEEL_CLK_Pin */
	GPIO_InitStruct.Pin = HC595_COMMON_LATCH_Pin | HC595_WHEEL_DATA_Pin | HC595_WHEEL_LATCH_Pin | HC595_WHEEL_CLK_Pin;
	GPIO_InitStruct.Mode = GPIO_MODE_OUTPUT_PP;
	GPIO_InitStruct.Pull = GPIO_NOPULL;
	GPIO_InitStruct.Speed = GPIO_SPEED_FREQ_HIGH;
	HAL_GPIO_Init(GPIOC, &GPIO_InitStruct);

	/*Configure GPIO pins : HC165_WHEEL_PL_Pin HC165_WHEEL_CLK_Pin HC165_BTN_PL_Pin HC165_BTN_CLK_Pin */
	GPIO_InitStruct.Pin = HC165_WHEEL_PL_Pin | HC165_WHEEL_CLK_Pin | HC165_BTN_PL_Pin | HC165_BTN_CLK_Pin;
	GPIO_InitStruct.Mode = GPIO_MODE_OUTPUT_PP;
	GPIO_InitStruct.Pull = GPIO_NOPULL;
	GPIO_InitStruct.Speed = GPIO_SPEED_FREQ_HIGH;
	HAL_GPIO_Init(GPIOD, &GPIO_InitStruct);

	/*Configure GPIO pins : HC165_WHEEL_DATA_Pin HC165_BTN_DATA_Pin */
	GPIO_InitStruct.Pin = HC165_WHEEL_DATA_Pin | HC165_BTN_DATA_Pin;
	GPIO_InitStruct.Mode = GPIO_MODE_INPUT;
	GPIO_InitStruct.Pull = GPIO_NOPULL;
	HAL_GPIO_Init(GPIOD, &GPIO_InitStruct);

}

void Error_Handler(void) {
	__disable_irq();
	while (1)
	{
	}
}

/************************ (C) COPYRIGHT STMicroelectronics *****END OF FILE****/
